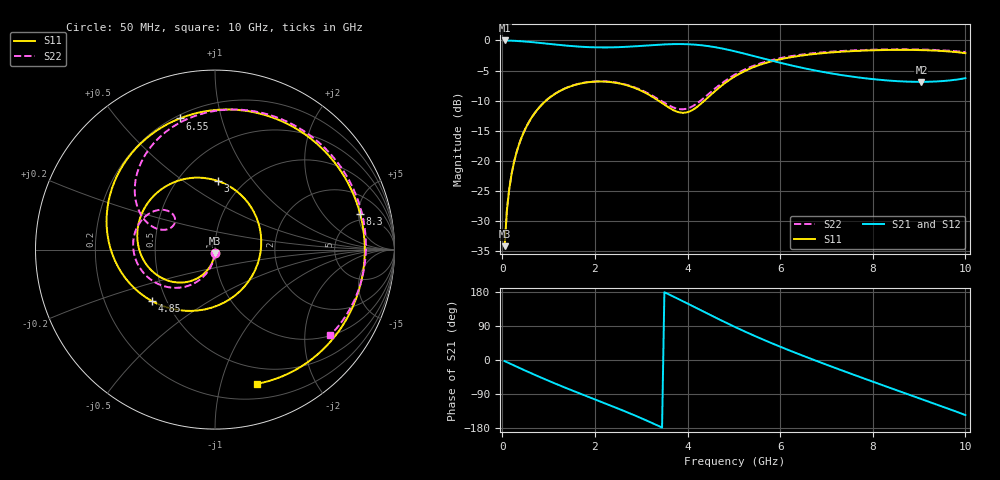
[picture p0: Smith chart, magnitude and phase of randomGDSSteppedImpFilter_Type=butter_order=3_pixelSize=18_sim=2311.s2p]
! freq	dB(S11)	phase(S11)	dB(S12)	phase(S12)
!  dB(S21)	phase(S21)	dB(S22)	phase(S22)
!S-par simulation data
#  GHz  S  DB  R 50
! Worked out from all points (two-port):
!   200 points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, 50 MHz to 10 GHz, reference 50 ohm
!   highest |S21| = -0.01 dB at 50 MHz (marker M1); lowest = -6.9 dB at 9.05 GHz (marker M2)
!   |S21| within 3 dB of the highest: start of sweep to 5.637 GHz
!   lowest |S11| = -34.2 dB at 50 MHz (marker M3), VSWR 1.04, Z = 49.9 - j1.95 ohm
!   |S11| at or under -10 dB: start of sweep to 944.5 MHz; 3.369 GHz to 4.367 GHz (997.2 MHz wide, 25.8 % of centre)
!   |S22| runs from -34.2 to -1.5 dB; largest |S21 - S12| = 0
!   S11 on the Smith chart (normalised r, x): 50 MHz: 1.00, -0.04; 3 GHz: 0.77, +0.69; 4.85 GHz: 0.41, -0.30; 6.55 GHz: 0.22, +0.74; 8.3 GHz: 3.99, +5.21; 10 GHz: 0.34, -1.30
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0.05  -34.18 -93.1  -0.01 -2.9  -0.01 -2.9  -34.17 -92.6
0.1  -28.17 -96.3  -0.02 -5.8  -0.02 -5.8  -28.17 -95.4
0.2  -22.22 -102.8  -0.04 -11.4  -0.04 -11.4  -22.21 -100.9
0.5  -14.66 -121.1  -0.19 -28.2  -0.19 -28.2  -14.65 -116.4
1.1  -9.07 -156.1  -0.65 -60.1  -0.65 -60.1  -9.05 -145.1
1.75  -7.07 167.5  -1.07 -92.0  -1.07 -92.0  -7.04 -172.6
2.45  -7.03 126.4  -1.14 -125.7  -1.14 -125.7  -6.98 161.5
3  -8.36 87.4  -0.91 -153.6  -0.91 -153.6  -8.24 145.4
3.4  -10.16 49.7  -0.71 -175.5  -0.71 -175.5  -9.91 139.9
4  -11.92 -35.4  -0.63 149.0  -0.63 149.0  -11.30 152.8
4.45  -9.42 -99.7  -0.95 121.4  -0.95 121.4  -8.93 160.1
4.85  -6.85 -141.0  -1.51 97.3  -1.51 97.3  -6.52 153.3
5.05  -5.85 -158.0  -1.86 85.7  -1.86 85.7  -5.56 147.3
5.4  -4.52 175.6  -2.54 66.2  -2.54 66.2  -4.29 135.1
5.75  -3.61 152.3  -3.23 47.8  -3.23 47.8  -3.41 121.9
6.55  -2.42 105.0  -4.68 8.5  -4.68 8.5  -2.27 91.3
6.7  -2.29 96.7  -4.91 1.5  -4.91 1.5  -2.14 85.6
7.45  -1.82 56.9  -5.90 -32.8  -5.90 -32.8  -1.71 57.2
8.3  -1.59 13.9  -6.64 -70.3  -6.64 -70.3  -1.50 25.5
8.35  -1.58 11.4  -6.67 -72.5  -6.67 -72.5  -1.50 23.7
9.05  -1.61 -23.2  -6.88 -102.9  -6.88 -102.9  -1.52 -2.0
10  -2.12 -72.7  -6.28 -145.3  -6.28 -145.3  -1.94 -36.6
